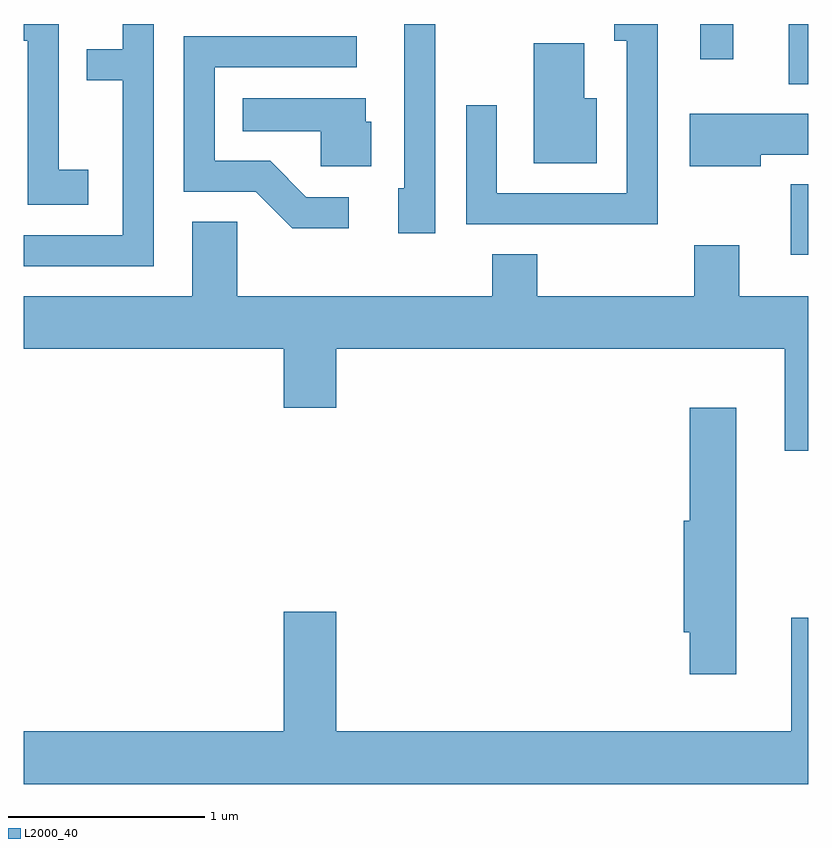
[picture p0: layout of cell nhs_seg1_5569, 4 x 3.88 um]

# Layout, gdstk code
import gdstk
lib = gdstk.Library(unit=1e-6, precision=1e-09)
def R(c, l, rs):  # rectangles x0, y0, x1, y1
    for r in rs: c.add(gdstk.rectangle(r[:2], r[2:], *l))
def P(c, l, *ps):  # polygons
    for p in ps: c.add(gdstk.Polygon(p, *l))
L2000_40 = (2000, 40)

nhs_seg1_5569 = lib.new_cell('nhs_seg1_5569')
R(nhs_seg1_5569, L2000_40, [(357.521,864.536,357.611,864.894), (357.511,865.406,357.611,865.712), (357.061,865.533,357.229,865.712)])
P(nhs_seg1_5569, L2000_40, [(355.709,865.712),(355.551,865.712),(355.551,864.874),(355.521,864.874),(355.521,864.646),(355.709,864.646)],
  [(353.939,864.969),(353.789,864.969),(353.789,865.712),(353.611,865.712),(353.611,865.626),(353.631,865.626),(353.631,864.791),(353.939,864.791)],
  [(356.844,865.712),(356.621,865.712),(356.621,865.626),(356.686,865.626),(356.686,864.849),(356.024,864.849),(356.024,865.298),(355.866,865.298),(355.866,864.691),(356.844,864.691)],
  [(354.274,865.712),(354.116,865.712),(354.116,865.584),(353.933,865.584),(353.933,865.426),(354.116,865.426),(354.116,864.634),(353.611,864.634),(353.611,864.476),(354.274,864.476)],
  [(355.268,864.829),(355.052,864.829),(354.867,865.014),(354.584,865.014),(354.584,865.491),(355.308,865.491),(355.308,865.649),(354.426,865.649),(354.426,864.856),(354.794,864.856),(354.979,864.671),(355.268,864.671)],
  [(356.534,865.334),(356.469,865.334),(356.469,865.614),(356.211,865.614),(356.211,865.001),(356.534,865.001)],
  [(355.384,865.214),(355.354,865.214),(355.354,865.334),(354.728,865.334),(354.728,865.166),(355.126,865.166),(355.126,864.986),(355.384,864.986)],
  [(357.369,865.046),(357.611,865.046),(357.611,865.254),(357.006,865.254),(357.006,864.986),(357.369,864.986)],
  [(357.611,864.324),(357.259,864.324),(357.259,864.584),(357.031,864.584),(357.031,864.324),(356.229,864.324),(356.229,864.539),(356.001,864.539),(356.001,864.324),(354.699,864.324),(354.699,864.704),(354.471,864.704),(354.471,864.324),(353.611,864.324),(353.611,864.056),(354.936,864.056),(354.936,863.756),(355.204,863.756),(355.204,864.056),(357.491,864.056),(357.491,863.536),(357.611,863.536)],
  [(357.244,863.754),(357.006,863.754),(357.006,863.179),(356.976,863.179),(356.976,862.611),(357.006,862.611),(357.006,862.396),(357.244,862.396)],
  [(357.611,862.683),(357.526,862.683),(357.526,862.104),(355.204,862.104),(355.204,862.714),(354.936,862.714),(354.936,862.104),(353.611,862.104),(353.611,861.836),(357.611,861.836)])

lib.write_gds('nhs_seg1_5569.gds')
